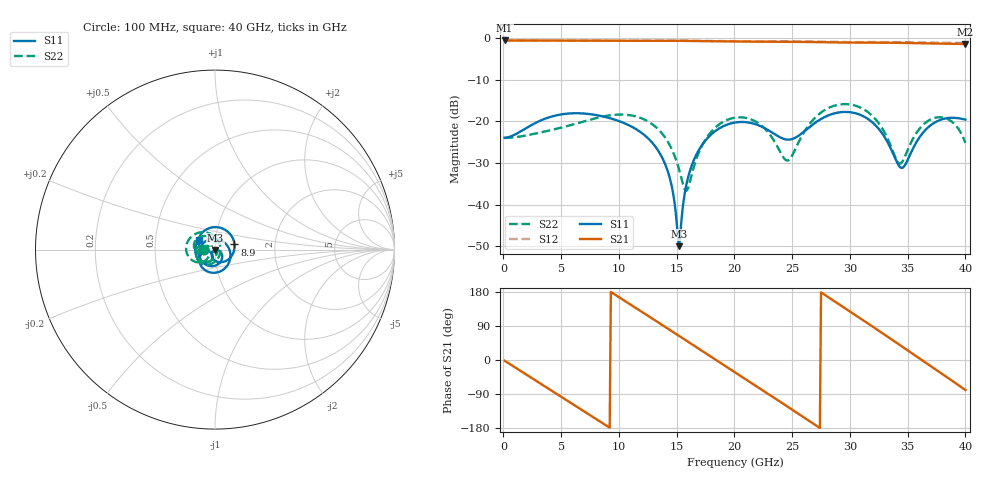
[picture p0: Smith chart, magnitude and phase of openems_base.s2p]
! X_s8x2_L1L3_bd_d200: L1→L3 back-drilled, drill Ø0.2, L2 plane removed: L3 exits above the top plane
! stackup: 8-layer 1.6 mm FR-4 without the L2 plane
! ports: 1, 2
! openEMS 0.37.0, staircase, base mesh (dfine 0.035 mm), 657475 cells
# Hz S RI R 50
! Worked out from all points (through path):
!   400 points, 100 MHz to 40 GHz, reference 50 ohm
!   highest |S21| = -0.57 dB at 100 MHz (marker M1); lowest = -1.4 dB at 40 GHz (marker M2)
!   group delay of S21, straight-line fit = 55.3 ps
!   lowest |S11| = -49.9 dB at 15.2 GHz (marker M3), VSWR 1.01, Z = 50.1 - j0.307 ohm
!   |S11| at or under -10 dB: start of sweep to end of sweep
!   |S22| runs from -36.7 to -15.8 dB; largest |S21 - S12| = 0.025
!   S11 on the Smith chart (normalised r, x): 100 MHz: 0.88, -0.00; 8.9 GHz: 1.24, +0.07; 40 GHz: 0.83, +0.09
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1e8  -0.0636 -0.000208  0.9356 -0.0317  0.9357 -0.0317  -0.0632 -0.000561
3.7e9  -0.0892 0.0626  0.2916 -0.8881  0.2922 -0.8884  -0.0748 -0.0147
6.8e9  0.0379 0.1189  -0.6235 -0.6915  -0.6243 -0.6928  -0.0978 -0.0136
8.9e9  0.1086 0.0284  -0.9212 -0.1162  -0.9229 -0.1161  -0.1161 0.00936
1.1e10  0.0616 -0.0628  -0.7721 0.5143  -0.7733 0.5151  -0.1054 0.0539
1.34e10  -0.0164 -0.0414  -0.1498 0.9162  -0.1515 0.9183  -0.0355 0.0722
1.46e10  -0.0117 -0.0109  0.231 0.8983  0.2301 0.9021  0.000621 0.0456
1.52e10  0.00087 -0.00306  0.4106 0.8306  0.4107 0.835  0.0113 0.0243
1.58e10  0.016 -0.0033  0.572 0.727  0.5735 0.7317  0.0146 0.000183
1.66e10  0.0335 -0.0164  0.7467 0.5415  0.7501 0.5458  0.00669 -0.0314
1.83e10  0.0292 -0.0699  0.9147 0.0372  0.9209 0.0383  -0.0465 -0.0691
2.01e10  -0.0387 -0.0892  0.7613 -0.4978  0.7674 -0.5007  -0.1025 -0.0428
2.33e10  -0.0608 0.0405  -0.1075 -0.9004  -0.1069 -0.9102  -0.0593 0.0201
2.47e10  0.0133 0.0589  -0.5189 -0.7406  -0.5246 -0.7507  -0.032 -0.0126
2.67e10  0.0859 -0.0265  -0.867 -0.2256  -0.8796 -0.2278  -0.0725 -0.0696
2.85e10  0.0373 -0.1174  -0.8247 0.327  -0.8351 0.3331  -0.1464 -0.0409
3.05e10  -0.0651 -0.1068  -0.4155 0.7786  -0.4208 0.7889  -0.1416 0.0615
3.34e10  -0.051 -0.00909  0.4575 0.7512  0.4635 0.7663  0.0139 0.0547
3.46e10  -0.0184 -0.0212  0.7271 0.4862  0.7413 0.4984  0.0294 -0.0169
3.66e10  -0.0385 -0.0707  0.8556 -0.116  0.8764 -0.1185  -0.0496 -0.0843
3.85e10  -0.1049 -0.0326  0.5795 -0.6292  0.5945 -0.6454  -0.1022 -0.0284
4e10  -0.0898 0.0548  0.158 -0.8342  0.163 -0.8582  -0.0547 0.00729
